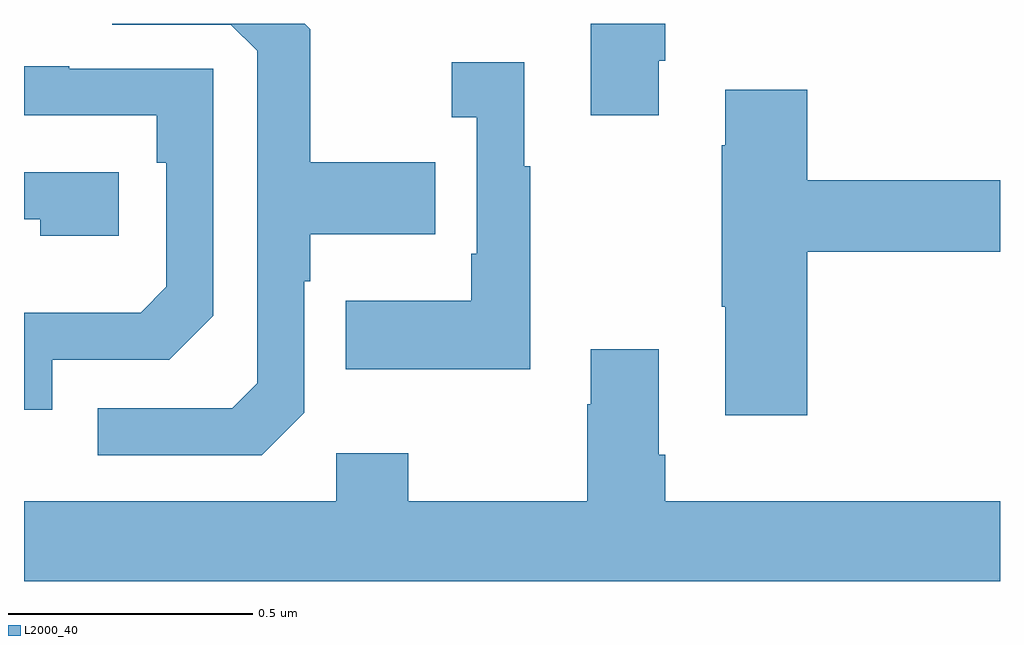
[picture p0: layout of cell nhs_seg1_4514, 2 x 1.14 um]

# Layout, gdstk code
import gdstk
lib = gdstk.Library(unit=1e-6, precision=1e-09)
def P(c, l, *ps):  # polygons
    for p in ps: c.add(gdstk.Polygon(p, *l))
L2000_40 = (2000, 40)

nhs_seg1_4514 = lib.new_cell('nhs_seg1_4514')
P(nhs_seg1_4514, L2000_40, [(168.301,562.123),(168.314,562.123),(168.314,562.199),(168.161,562.199),(168.161,562.011),(168.301,562.011)],
  [(167.574,561.402),(167.574,561.671),(167.587,561.671),(167.587,561.767),(167.843,561.767),(167.843,561.915),(167.587,561.915),(167.587,562.187),(167.575,562.199),(167.181,562.199),(167.181,562.197),(167.424,562.197),(167.478,562.143),(167.478,561.462),(167.427,561.411),(167.151,561.411),(167.151,561.315),(167.487,561.315)],
  [(168.037,561.907),(168.025,561.907),(168.025,562.12),(167.877,562.12),(167.877,562.007),(167.928,562.007),(167.928,561.727),(167.916,561.727),(167.916,561.631),(167.659,561.631),(167.659,561.491),(168.037,561.491)],
  [(167.058,561.51),(167.298,561.51),(167.388,561.6),(167.388,562.107),(167.093,562.107),(167.093,562.112),(167,562.112),(167,562.011),(167.272,562.011),(167.272,561.914),(167.292,561.914),(167.292,561.66),(167.239,561.607),(167,561.607),(167,561.408),(167.058,561.408)],
  [(168.605,561.731),(169,561.731),(169,561.878),(168.605,561.878),(168.605,562.063),(168.437,562.063),(168.437,561.95),(168.43,561.95),(168.43,561.619),(168.437,561.619),(168.437,561.396),(168.605,561.396)],
  [(167.194,561.894),(167,561.894),(167,561.798),(167.033,561.798),(167.033,561.764),(167.194,561.764)],
  [(169,561.22),(168.314,561.22),(168.314,561.316),(168.301,561.316),(168.301,561.532),(168.161,561.532),(168.161,561.419),(168.154,561.419),(168.154,561.22),(167.787,561.22),(167.787,561.319),(167.64,561.319),(167.64,561.22),(167,561.22),(167,561.056),(169,561.056)])

lib.write_gds('nhs_seg1_4514.gds')
